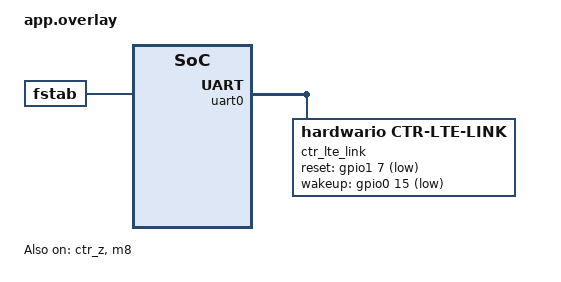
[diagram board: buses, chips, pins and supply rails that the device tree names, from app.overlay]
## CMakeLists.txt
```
#
# Copyright (c) 2024 HARDWARIO a.s.
#
# SPDX-License-Identifier: LicenseRef-HARDWARIO-5-Clause
#

cmake_minimum_required(VERSION 3.20.0)

set(ENV{FW_BUNDLE} "com.hardwario.chester.app.demo")
set(ENV{FW_NAME} "CHESTER Demo")

# Derive firmware version from git (see scripts/version.cmake); the fallback is
# used when git is unavailable at build time.
set(FW_VERSION_FALLBACK "v3.0.0")
include(${CMAKE_CURRENT_SOURCE_DIR}/../../scripts/version.cmake)

find_package(Zephyr REQUIRED HINTS $ENV{ZEPHYR_BASE})

project(chester-demo)

include(${ZEPHYR_CHESTER_MODULE_DIR}/scripts/app_codec.cmake)

target_sources(app PRIVATE src/app_cbor.c)
target_sources(app PRIVATE src/app_config.c)
target_sources(app PRIVATE src/app_data.c)
target_sources(app PRIVATE src/app_handler.c)
target_sources(app PRIVATE src/app_init.c)
target_sources(app PRIVATE src/app_sensor.c)
target_sources(app PRIVATE src/app_shell.c)
target_sources(app PRIVATE src/app_work.c)
target_sources(app PRIVATE src/main.c)

target_precompile_headers(app PRIVATE src/feature.h)

# ### Preserved code "cmake" (begin)
# ^^^ Preserved code "cmake" (end)
```

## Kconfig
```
#
# Copyright (c) 2024 HARDWARIO a.s.
#
# SPDX-License-Identifier: LicenseRef-HARDWARIO-5-Clause
#

menu "Application"

# CHESTER-APP-REPORT-JITTER
config APP_REPORT_JITTER
	bool "Add random time jitter to report transfers"
	default y
	select ENTROPY_GENERATOR
# HARDWARE-CHESTER-Z
config SHIELD_CTR_Z
	bool "Enable SHIELD_CTR_Z"
	default y

config CTR_Z
	default y

config I2C
	default y
# SUBSYSTEM-GNSS#
config SHIELD_CTR_GNSS
	bool "Enable SHIELD_CTR_GNSS"
	default y

config CTR_GNSS
	default y
# SUBSYSTEM-LTE-V2
config SHIELD_CTR_LTE_V2
	bool "Enable SHIELD_CTR_LTE_V2"
	default y

config CTR_LTE_V2
	default y

# ### Preserved code "k_config" (begin)
# ^^^ Preserved code "k_config" (end)

rsource "Kconfig.variant"

endmenu

menu "Zephyr Kernel"
source "Kconfig.zephyr"
endmenu
```

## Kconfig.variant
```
#
# Copyright (c) 2024 HARDWARIO a.s.
#
# SPDX-License-Identifier: LicenseRef-HARDWARIO-5-Clause
#

config VARIANT_DEMO
    bool "Enable VARIANT_DEMO"
    default y
```

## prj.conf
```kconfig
#
# Copyright (c) 2024 HARDWARIO a.s.
#
# SPDX-License-Identifier: LicenseRef-HARDWARIO-5-Clause
#

# Configurations
# SUBSYSTEM-ACCEL
CONFIG_CTR_ACCEL=y
# SUBSYSTEM-BATT
CONFIG_CTR_BATT=y
# SUBSYSTEM-BLUETOOTH
CONFIG_CTR_BLE=y
# SUBSYSTEM-BUF
CONFIG_CTR_BUF=y
# SUBSYSTEM-BUTTON
CONFIG_CTR_BUTTON=y
# SUBSYSTEM-CLOUD
CONFIG_CTR_CLOUD=y
CONFIG_SETTINGS_SHELL=y
CONFIG_IMG_MANAGER=y
CONFIG_BOOTLOADER_MCUBOOT=y
CONFIG_SPI=y
CONFIG_DFU_TARGET=y
CONFIG_DFU_TARGET_STREAM=y
CONFIG_DFU_TARGET_MCUBOOT=y
CONFIG_DFU_TARGET_LOG_LEVEL_DBG=y
CONFIG_STREAM_FLASH_ERASE=y
CONFIG_STREAM_FLASH=y
CONFIG_FILE_SYSTEM=y
CONFIG_FILE_SYSTEM_LITTLEFS=y
CONFIG_FILE_SYSTEM_MKFS=y
CONFIG_FILE_SYSTEM_SHELL=y
CONFIG_SETTINGS_FILE=y
CONFIG_SETTINGS_FILE_PATH="/lfs1/settings/run"
# SUBSYSTEM-CONFIG
CONFIG_CTR_CONFIG=y
# SUBSYSTEM-DEFAULTS
CONFIG_CTR_DEFAULTS=y
# SUBSYSTEM-ENTROPY-GENERATOR
CONFIG_ENTROPY_GENERATOR=y
# SUBSYSTEM-GNSS
CONFIG_CTR_GNSS=y
# SUBSYSTEM-INFO
CONFIG_CTR_INFO=y
# SUBSYSTEM-LED
CONFIG_CTR_LED=y
# SUBSYSTEM-LOG
CONFIG_CTR_LOG=y
# SUBSYSTEM-LTE-V2
CONFIG_CTR_LTE_V2=y
# SUBSYSTEM-POWER
CONFIG_CTR_POWER=y
# SUBSYSTEM-RTC
CONFIG_CTR_RTC=y
# SUBSYSTEM-SHELL
CONFIG_CTR_SHELL=y
# SUBSYSTEM-THERM
CONFIG_CTR_THERM=y
# SUBSYSTEM-WDOG
CONFIG_CTR_WDOG=y
# SUBSYSTEM-ZCBOR
CONFIG_ZCBOR=y
CONFIG_ZCBOR_STOP_ON_ERROR=y
# Extra configurations
CONFIG_ADC_NRFX_SAADC=n
CONFIG_ADC_SHELL=n
CONFIG_CTR_LTE_V2_GNSS=y
CONFIG_GPIO_SHELL=y
CONFIG_I2C_SHELL=y
CONFIG_ISR_TABLES_LOCAL_DECLARATION=y
CONFIG_LTO=y
CONFIG_MCUBOOT_SHELL=y
CONFIG_NEWLIB_LIBC_NANO=n

# ### Preserved code "config" (begin)
CONFIG_BUILD_OUTPUT_META=y
CONFIG_BUILD_OUTPUT_META_STATE_PROPAGATE=y
CONFIG_CTR_CLOUD_SPOOL=y
# ^^^ Preserved code "config" (end)
```

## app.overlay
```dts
/*
 * Copyright (c) 2024 HARDWARIO a.s.
 *
 * SPDX-License-Identifier: LicenseRef-HARDWARIO-5-Clause
 */

/* HARDWARE-CHESTER-Z  */
&ctr_z {
	status = "okay";
};
/* SUBSYSTEM-CLOUD  */
/ {
	fstab {
		compatible = "zephyr,fstab";
		lfs1: lfs1 {
			compatible = "zephyr,fstab,littlefs";
			mount-point = "/lfs1";
			partition = <&littlefs_storage>;
			automount;
			read-size = <16>;
			prog-size = <16>;
			cache-size = <64>;
			lookahead-size = <32>;
			block-cycles = <512>;
		};
	};
};
/* SUBSYSTEM-GNSS  */
&m8 {
	status = "okay";
};
/* SUBSYSTEM-LTE-V2  */
/ {
	chosen {
		ctr,lte_link = &ctr_lte_link;
	};
};

&uart0 {
	status = "okay";

	ctr_lte_link: ctr_lte_link {
		compatible = "hardwario,ctr-lte-link";
		status = "okay";
		reset-gpios = <&gpio1 7 (GPIO_ACTIVE_LOW | GPIO_OPEN_DRAIN)>;
		wakeup-gpios = <&gpio0 15 (GPIO_ACTIVE_LOW | GPIO_OPEN_DRAIN)>;
	};
};

&uart0 {
	status = "okay";
};

/* ### Preserved code "overlay" (begin) */
/* ^^^ Preserved code "overlay" (end) */
```

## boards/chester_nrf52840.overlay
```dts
/*
 * Copyright (c) 2023 HARDWARIO a.s.
 *
 * SPDX-License-Identifier: LicenseRef-HARDWARIO-5-Clause
 */

/ {
	chosen {
		nordic,pm-ext-flash = &spi_flash0;
	};
};

&spi_flash0 {
	partitions {
		compatible = "fixed-partitions";
		#address-cells = <1>;
		#size-cells = <1>;

		littlefs_storage: partition@0 {
			label = "littlefs_storage";

			/*
			 * This size doesn't matter due to Nordic's partition
			 * manager; For the sake of consistency this should
			 * match the configured size
			 */
			reg = <0x00000000 0x730000>;
		};
	};
};

/ {
	fstab {
		compatible = "zephyr,fstab";
		lfs1: lfs1 {
			compatible = "zephyr,fstab,littlefs";
			mount-point = "/lfs1";
			partition = <&littlefs_storage>;
			automount;
			read-size = <16>;
			prog-size = <16>;
			cache-size = <64>;
			lookahead-size = <32>;
			block-cycles = <512>;
		};
	};
};
```

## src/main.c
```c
/*
 * Copyright (c) 2023 HARDWARIO a.s.
 *
 * SPDX-License-Identifier: LicenseRef-HARDWARIO-5-Clause
 */

#include "app_init.h"

/* CHESTER includes */
#include <chester/ctr_led.h>

/* Zephyr includes */
#include <zephyr/kernel.h>
#include <zephyr/logging/log.h>

/* Standard includes */
#include <stdbool.h>

LOG_MODULE_REGISTER(main, LOG_LEVEL_DBG);

int main(void)
{
	int ret;

	LOG_INF("Build time: " __DATE__ " " __TIME__);

	ret = app_init();
	if (ret) {
		LOG_ERR("Call `app_init` failed: %d", ret);
		k_oops();
	}

	for (;;) {
		LOG_INF("Alive");

		ret = ctr_wdog_feed(&g_app_wdog_channel);
		if (ret) {
			LOG_ERR("Call `ctr_wdog_feed` failed: %d", ret);
			k_oops();
		}

		ctr_led_set(CTR_LED_CHANNEL_G, true);
		k_sleep(K_MSEC(30));
		ctr_led_set(CTR_LED_CHANNEL_G, false);

		k_sleep(K_SECONDS(5));
	}

	return 0;
}
```

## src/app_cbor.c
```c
/*
 * Copyright (c) 2024 HARDWARIO a.s.
 *
 * SPDX-License-Identifier: LicenseRef-HARDWARIO-5-Clause
 */

#include "app_cbor.h"
#include "app_codec.h"
#include "app_config.h"
#include "app_data.h"

/* CHESTER includes */
#include <chester/ctr_info.h>
#include <chester/ctr_lte_v2.h>
#include <chester/ctr_rtc.h>
#include <chester/ctr_util.h>

/* Zephyr includes */
#include <zephyr/kernel.h>
#include <zephyr/logging/log.h>

#include <zcbor_common.h>
#include <zcbor_decode.h>
#include <zcbor_encode.h>

/* Standard includes */
#include <errno.h>
#include <math.h>
#include <stdbool.h>
#include <stddef.h>
#include <stdint.h>
#include <stdlib.h>

/* ### Preserved code "functions" (begin) */
#include <chester/ctr_power.h>

/* ^^^ Preserved code "functions" (end) */

LOG_MODULE_REGISTER(app_cbor, LOG_LEVEL_DBG);

static int encode(zcbor_state_t *zs)
{
	int ret;

	zs->constant_state->stop_on_error = true;

	zcbor_map_start_encode(zs, ZCBOR_VALUE_IS_INDEFINITE_LENGTH);

	/* ### Preserved code "message" (begin) */

	zcbor_uint32_put(zs, CODEC_KEY_E_MESSAGE);
	{
		zcbor_map_start_encode(zs, ZCBOR_VALUE_IS_INDEFINITE_LENGTH);

		zcbor_uint32_put(zs, CODEC_KEY_E_MESSAGE__VERSION);
		zcbor_uint32_put(zs, 1);

		static uint32_t sequence = 0;
		zcbor_uint32_put(zs, CODEC_KEY_E_MESSAGE__SEQUENCE);
		zcbor_uint32_put(zs, sequence++);

		uint64_t timestamp;
		ret = ctr_rtc_get_ts(&timestamp);
		if (ret) {
			LOG_ERR("Call `ctr_rtc_get_ts` failed: %d", ret);
			return ret;
		}

		zcbor_uint32_put(zs, CODEC_KEY_E_MESSAGE__TIMESTAMP);
		zcbor_uint64_put(zs, timestamp);

		zcbor_map_end_encode(zs, ZCBOR_VALUE_IS_INDEFINITE_LENGTH);
	}

	/* ^^^ Preserved code "message" (end) */

	/* ### Preserved code "system" (begin) */

	zcbor_uint32_put(zs, CODEC_KEY_E_SYSTEM);
	{
		zcbor_map_start_encode(zs, ZCBOR_VALUE_IS_INDEFINITE_LENGTH);

		zcbor_uint32_put(zs, CODEC_KEY_E_SYSTEM__UPTIME);
		zcbor_uint64_put(zs, k_uptime_get() / 1000);

		zcbor_map_end_encode(zs, ZCBOR_VALUE_IS_INDEFINITE_LENGTH);
	}

	/* ^^^ Preserved code "system" (end) */

	/* ### Preserved code "power" (begin) */

#if defined(FEATURE_SUBSYSTEM_POWER)
	ret = ctr_power_cbor_encode(zs);
	if (ret) {
		LOG_ERR("Call `ctr_power_cbor_encode` failed: %d", ret);
		return ret;
	}
#endif /* defined(FEATURE_SUBSYSTEM_POWER) */

	/* ^^^ Preserved code "power" (end) */

	/* ### Preserved code "attribute" (begin) */

	zcbor_uint32_put(zs, CODEC_KEY_E_ATTRIBUTE);
	{
		zcbor_map_start_encode(zs, ZCBOR_VALUE_IS_INDEFINITE_LENGTH);

		char *vendor_name;
		ctr_info_get_vendor_name(&vendor_name);

		zcbor_uint32_put(zs, CODEC_KEY_E_ATTRIBUTE__VENDOR_NAME);
		zcbor_tstr_put_term(zs, vendor_name, CONFIG_ZCBOR_MAX_STR_LEN);

		char *product_name;
		ctr_info_get_product_name(&product_name);

		zcbor_uint32_put(zs, CODEC_KEY_E_ATTRIBUTE__PRODUCT_NAME);
		zcbor_tstr_put_term(zs, product_name, CONFIG_ZCBOR_MAX_STR_LEN);

		char *hw_variant;
		ctr_info_get_hw_variant(&hw_variant);

		zcbor_uint32_put(zs, CODEC_KEY_E_ATTRIBUTE__HW_VARIANT);
		zcbor_tstr_put_term(zs, hw_variant, CONFIG_ZCBOR_MAX_STR_LEN);

		char *hw_revision;
		ctr_info_get_hw_revision(&hw_revision);

		zcbor_uint32_put(zs, CODEC_KEY_E_ATTRIBUTE__HW_REVISION);
		zcbor_tstr_put_term(zs, hw_revision, CONFIG_ZCBOR_MAX_STR_LEN);

		char *fw_version;
		ctr_info_get_fw_version(&fw_version);

		zcbor_uint32_put(zs, CODEC_KEY_E_ATTRIBUTE__FW_VERSION);
		zcbor_tstr_put_term(zs, fw_version, CONFIG_ZCBOR_MAX_STR_LEN);

		char *serial_number;
		ctr_info_get_serial_number(&serial_number);

		zcbor_uint32_put(zs, CODEC_KEY_E_ATTRIBUTE__SERIAL_NUMBER);
		zcbor_tstr_put_term(zs, serial_number, CONFIG_ZCBOR_MAX_STR_LEN);

		zcbor_map_end_encode(zs, ZCBOR_VALUE_IS_INDEFINITE_LENGTH);
	}

	/* ^^^ Preserved code "attribute" (end) */

	/* ### Preserved code "network" (begin) */

	zcbor_uint32_put(zs, CODEC_KEY_E_NETWORK);
	{
		zcbor_map_start_encode(zs, ZCBOR_VALUE_IS_INDEFINITE_LENGTH);

		zcbor_uint32_put(zs, CODEC_KEY_E_NETWORK__PARAMETER);
		{
			zcbor_map_start_encode(zs, ZCBOR_VALUE_IS_INDEFINITE_LENGTH);

			static struct ctr_lte_v2_conn_param conn_param;
			ret = ctr_lte_v2_get_conn_param(&conn_param);
			if (ret) {
				LOG_ERR("Call `ctr_lte_v2_state_get_conn_param` failed: %d", ret);
				return ret;
			}

			zcbor_uint32_put(zs, CODEC_KEY_E_NETWORK__PARAMETER__EEST);
			if (conn_param.valid) {
				zcbor_int32_put(zs, conn_param.eest);
			} else {
				zcbor_nil_put(zs, NULL);
			}

			zcbor_uint32_put(zs, CODEC_KEY_E_NETWORK__PARAMETER__ECL);
			if (conn_param.valid) {
				zcbor_int32_put(zs, conn_param.ecl);
			} else {
				zcbor_nil_put(zs, NULL);
			}

			zcbor_uint32_put(zs, CODEC_KEY_E_NETWORK__PARAMETER__RSRP);
			if (conn_param.valid) {
				zcbor_int32_put(zs, conn_param.rsrp);
			} else {
				zcbor_nil_put(zs, NULL);
			}

			zcbor_uint32_put(zs, CODEC_KEY_E_NETWORK__PARAMETER__RSRQ);
			if (conn_param.valid) {
				zcbor_int32_put(zs, conn_param.rsrq);
			} else {
				zcbor_nil_put(zs, NULL);
			}

			zcbor_uint32_put(zs, CODEC_KEY_E_NETWORK__PARAMETER__SNR);
			if (conn_param.valid) {
				zcbor_int32_put(zs, conn_param.snr);
			} else {
				zcbor_nil_put(zs, NULL);
			}

			zcbor_uint32_put(zs, CODEC_KEY_E_NETWORK__PARAMETER__PLMN);
			if (conn_param.valid) {
				zcbor_int32_put(zs, conn_param.plmn);
			} else {
				zcbor_nil_put(zs, NULL);
			}

			zcbor_uint32_put(zs, CODEC_KEY_E_NETWORK__PARAMETER__CID);
			if (conn_param.valid) {
				zcbor_int32_put(zs, conn_param.cid);
			} else {
				zcbor_nil_put(zs, NULL);
			}

			zcbor_uint32_put(zs, CODEC_KEY_E_NETWORK__PARAMETER__BAND);
			if (conn_param.valid) {
				zcbor_int32_put(zs, conn_param.band);
			} else {
				zcbor_nil_put(zs, NULL);
			}

			zcbor_uint32_put(zs, CODEC_KEY_E_NETWORK__PARAMETER__EARFCN);
			if (conn_param.valid) {
				zcbor_int32_put(zs, conn_param.earfcn);
			} else {
				zcbor_nil_put(zs, NULL);
			}

			zcbor_map_end_encode(zs, ZCBOR_VALUE_IS_INDEFINITE_LENGTH);
		}

		zcbor_map_end_encode(zs, ZCBOR_VALUE_IS_INDEFINITE_LENGTH);
	}

	/* ^^^ Preserved code "network" (end) */

	/* ### Preserved code "thermometer" (begin) */

	zcbor_uint32_put(zs, CODEC_KEY_E_THERMOMETER);
	{
		zcbor_map_start_encode(zs, ZCBOR_VALUE_IS_INDEFINITE_LENGTH);

		zcbor_uint32_put(zs, CODEC_KEY_E_THERMOMETER__TEMPERATURE);
		if (isnan(g_app_data.therm_temperature)) {
			zcbor_nil_put(zs, NULL);
		} else {
			zcbor_int32_put(zs, g_app_data.therm_temperature * 100.f);
		}

		zcbor_map_end_encode(zs, ZCBOR_VALUE_IS_INDEFINITE_LENGTH);
	}

	/* ^^^ Preserved code "thermometer" (end) */

	/* ### Preserved code "accelerometer" (begin) */

	zcbor_uint32_put(zs, CODEC_KEY_E_ACCELEROMETER);
	{
		zcbor_map_start_encode(zs, ZCBOR_VALUE_IS_INDEFINITE_LENGTH);

		zcbor_uint32_put(zs, CODEC_KEY_E_ACCELEROMETER__ACCELERATION_X);
		if (isnan(g_app_data.accel_acceleration_x)) {
			zcbor_nil_put(zs, NULL);
		} else {
			zcbor_int32_put(zs, g_app_data.accel_acceleration_x * 1000.f);
		}

		zcbor_uint32_put(zs, CODEC_KEY_E_ACCELEROMETER__ACCELERATION_Y);
		if (isnan(g_app_data.accel_acceleration_y)) {
			zcbor_nil_put(zs, NULL);
		} else {
			zcbor_int32_put(zs, g_app_data.accel_acceleration_y * 1000.f);
		}

		zcbor_uint32_put(zs, CODEC_KEY_E_ACCELEROMETER__ACCELERATION_Z);
		if (isnan(g_app_data.accel_acceleration_z)) {
			zcbor_nil_put(zs, NULL);
		} else {
			zcbor_int32_put(zs, g_app_data.accel_acceleration_z * 1000.f);
		}

		zcbor_uint32_put(zs, CODEC_KEY_E_ACCELEROMETER__ORIENTATION);
		if (g_app_data.accel_orientation == INT_MAX) {
			zcbor_nil_put(zs, NULL);
		} else {
			zcbor_uint32_put(zs, g_app_data.accel_orientation);
		}

		zcbor_map_end_encode(zs, ZCBOR_VALUE_IS_INDEFINITE_LENGTH);
	}

	/* ^^^ Preserved code "accelerometer" (end) */

	zcbor_map_end_encode(zs, ZCBOR_VALUE_IS_INDEFINITE_LENGTH);

	if (!zcbor_check_error(zs)) {
		LOG_ERR("Encoding failed: %d", zcbor_pop_error(zs));
		return -EFAULT;
	}

	return 0;
}

int decode(zcbor_state_t *zs, struct app_cbor_received *received)
{
	memset(received, 0, sizeof(struct app_cbor_received));

	if (!zcbor_map_start_decode(zs)) {
		return -EBADMSG;
	}

	uint32_t key;
	bool ok;

	/* ### Preserved code "while" (begin) */
	while (1) {
		if (!zcbor_uint32_decode(zs, &key)) {
			break;
		}

		switch (key) {

		/* Filled in by Project Generator */
		case CODEC_KEY_D_LED_R:
			ok = zcbor_int32_decode(zs, &received->led_r);
			received->has_led_r = true;
			break;
		case CODEC_KEY_D_LED_G:
			ok = zcbor_int32_decode(zs, &received->led_g);
			received->has_led_g = true;
			break;
		case CODEC_KEY_D_LED_Y:
			ok = zcbor_int32_decode(zs, &received->led_y);
			received->has_led_y = true;
			break;
		case CODEC_KEY_D_LED_LOAD:
			ok = zcbor_int32_decode(zs, &received->led_load);
			received->has_led_load = true;
			break;
		}
		if (!ok) {
			LOG_ERR("Encoding failed: %d", zcbor_peek_error(zs));
			return -EBADMSG;
		}
	}
	/* ^^^ Preserved code "while" (end) */

	if (!zcbor_map_end_decode(zs)) {
		return -EBADMSG;
	}

	return 0;
}

int app_cbor_encode(zcbor_state_t *zs)
{
	int ret;

	app_data_lock();

	ret = encode(zs);
	if (ret) {
		LOG_ERR("Call `encode` failed: %d", ret);
		app_data_unlock();
		return ret;
	}

	app_data_unlock();

	return 0;
}

int app_cbor_decode(zcbor_state_t *zs, struct app_cbor_received *received)
{
	int ret;
	ret = decode(zs, received);
	if (ret) {
		LOG_ERR("Call `decode` failed: %d", ret);
		return ret;
	}

	return 0;
}
```

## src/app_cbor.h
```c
/*
 * Copyright (c) 2024 HARDWARIO a.s.
 *
 * SPDX-License-Identifier: LicenseRef-HARDWARIO-5-Clause
 */

#ifndef APP_CBOR_H_
#define APP_CBOR_H_

/* Zephyr includes */
#include <zephyr/kernel.h>

#include <zcbor_common.h>

#ifdef __cplusplus
extern "C" {
#endif

struct app_cbor_received {
	bool has_led_r;
	int32_t led_r;
	bool has_led_g;
	int32_t led_g;
	bool has_led_y;
	int32_t led_y;
	bool has_led_load;
	int32_t led_load;
};

int app_cbor_encode(zcbor_state_t *zs);
int app_cbor_decode(zcbor_state_t *zs, struct app_cbor_received *received);

#ifdef __cplusplus
}
#endif

#endif /* APP_CBOR_H_ */
```

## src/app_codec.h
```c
#ifndef CODEC_H_
#define CODEC_H_

/* This file has been generated using the script gen-codec.py */

#ifdef __cplusplus
extern "C" {
#endif

#define CODEC_CLOUD_DECODER_HASH ((uint64_t)0x6940c0933067d636)
#define CODEC_CLOUD_ENCODER_HASH ((uint64_t)0xe074aea1e4183ce4)

enum codec_key_e {
	CODEC_KEY_E_MESSAGE = 0,
	CODEC_KEY_E_MESSAGE__VERSION = 1,
	CODEC_KEY_E_MESSAGE__SEQUENCE = 2,
	CODEC_KEY_E_MESSAGE__TIMESTAMP = 3,
	CODEC_KEY_E_SYSTEM = 4,
	CODEC_KEY_E_SYSTEM__UPTIME = 5,
	CODEC_KEY_E_SYSTEM__VOLTAGE_REST = 6,
	CODEC_KEY_E_SYSTEM__VOLTAGE_LOAD = 7,
	CODEC_KEY_E_SYSTEM__CURRENT_LOAD = 8,
	CODEC_KEY_E_ATTRIBUTE = 9,
	CODEC_KEY_E_ATTRIBUTE__VENDOR_NAME = 10,
	CODEC_KEY_E_ATTRIBUTE__PRODUCT_NAME = 11,
	CODEC_KEY_E_ATTRIBUTE__HW_VARIANT = 12,
	CODEC_KEY_E_ATTRIBUTE__HW_REVISION = 13,
	CODEC_KEY_E_ATTRIBUTE__FW_VERSION = 14,
	CODEC_KEY_E_ATTRIBUTE__SERIAL_NUMBER = 15,
	CODEC_KEY_E_NETWORK = 16,
	CODEC_KEY_E_NETWORK__PARAMETER = 17,
	CODEC_KEY_E_NETWORK__PARAMETER__EEST = 18,
	CODEC_KEY_E_NETWORK__PARAMETER__ECL = 19,
	CODEC_KEY_E_NETWORK__PARAMETER__RSRP = 20,
	CODEC_KEY_E_NETWORK__PARAMETER__RSRQ = 21,
	CODEC_KEY_E_NETWORK__PARAMETER__SNR = 22,
	CODEC_KEY_E_NETWORK__PARAMETER__PLMN = 23,
	CODEC_KEY_E_NETWORK__PARAMETER__CID = 24,
	CODEC_KEY_E_NETWORK__PARAMETER__BAND = 25,
	CODEC_KEY_E_NETWORK__PARAMETER__EARFCN = 26,
	CODEC_KEY_E_THERMOMETER = 27,
	CODEC_KEY_E_THERMOMETER__TEMPERATURE = 28,
	CODEC_KEY_E_ACCELEROMETER = 29,
	CODEC_KEY_E_ACCELEROMETER__ACCELERATION_X = 30,
	CODEC_KEY_E_ACCELEROMETER__ACCELERATION_Y = 31,
	CODEC_KEY_E_ACCELEROMETER__ACCELERATION_Z = 32,
	CODEC_KEY_E_ACCELEROMETER__ORIENTATION = 33,
};

enum codec_key_d {
	CODEC_KEY_D_LED_R = 0,
	CODEC_KEY_D_LED_G = 1,
	CODEC_KEY_D_LED_Y = 2,
	CODEC_KEY_D_LED_LOAD = 3,
};

#define CODEC_CLOUD_OPTIONS_STATIC(_name) \
	static const uint8_t _name##_cloud_decoder[] = CLOUD_DECODER_BUFFER; \
	static const uint8_t _name##_cloud_encoder[] = CLOUD_ENCODER_BUFFER; \
	static struct ctr_cloud_options _name = { \
		.decoder_hash = CODEC_CLOUD_DECODER_HASH, \
		.encoder_hash = CODEC_CLOUD_ENCODER_HASH, \
		.decoder_buf = _name##_cloud_decoder, \
		.decoder_len = 559, \
		.encoder_buf = _name##_cloud_encoder, \
		.encoder_len = 147, \
}

#define CLOUD_DECODER_BUFFER { \
	0xa4, 0x67, 0x76, 0x65, 0x72, 0x73, 0x69, 0x6f, \
	0x6e, 0x02, 0x64, 0x74, 0x79, 0x70, 0x65, 0x67, \
	0x64, 0x65, 0x63, 0x6f, 0x64, 0x65, 0x72, 0x64, \
	0x6e, 0x61, 0x6d, 0x65, 0x78, 0x1e, 0x63, 0x6f, \
	0x6d, 0x2e, 0x68, 0x61, 0x72, 0x64, 0x77, 0x61, \
	0x72, 0x69, 0x6f, 0x2e, 0x63, 0x68, 0x65, 0x73, \
	0x74, 0x65, 0x72, 0x2e, 0x61, 0x70, 0x70, 0x2e, \
	0x64, 0x65, 0x6d, 0x6f, 0x66, 0x73, 0x63, 0x68, \
	0x65, 0x6d, 0x61, 0x86, 0xa1, 0x67, 0x6d, 0x65, \
	0x73, 0x73, 0x61, 0x67, 0x65, 0x83, 0xa1, 0x67, \
	0x76, 0x65, 0x72, 0x73, 0x69, 0x6f, 0x6e, 0xf6, \
	0xa1, 0x68, 0x73, 0x65, 0x71, 0x75, 0x65, 0x6e, \
	0x63, 0x65, 0xf6, 0xa1, 0x69, 0x74, 0x69, 0x6d, \
	0x65, 0x73, 0x74, 0x61, 0x6d, 0x70, 0xf6, 0xa1, \
	0x66, 0x73, 0x79, 0x73, 0x74, 0x65, 0x6d, 0x84, \
	0xa1, 0x66, 0x75, 0x70, 0x74, 0x69, 0x6d, 0x65, \
	0xf6, 0xa1, 0x6c, 0x76, 0x6f, 0x6c, 0x74, 0x61, \
	0x67, 0x65, 0x5f, 0x72, 0x65, 0x73, 0x74, 0x82, \
	0xa1, 0x64, 0x24, 0x64, 0x69, 0x76, 0x19, 0x03, \
	0xe8, 0xa1, 0x64, 0x24, 0x66, 0x70, 0x70, 0x02, \
	0xa1, 0x6c, 0x76, 0x6f, 0x6c, 0x74, 0x61, 0x67, \
	0x65, 0x5f, 0x6c, 0x6f, 0x61, 0x64, 0x82, 0xa1, \
	0x64, 0x24, 0x64, 0x69, 0x76, 0x19, 0x03, 0xe8, \
	0xa1, 0x64, 0x24, 0x66, 0x70, 0x70, 0x02, 0xa1, \
	0x6c, 0x63, 0x75, 0x72, 0x72, 0x65, 0x6e, 0x74, \
	0x5f, 0x6c, 0x6f, 0x61, 0x64, 0xf6, 0xa1, 0x69, \
	0x61, 0x74, 0x74, 0x72, 0x69, 0x62, 0x75, 0x74, \
	0x65, 0x86, 0xa1, 0x6b, 0x76, 0x65, 0x6e, 0x64, \
	0x6f, 0x72, 0x5f, 0x6e, 0x61, 0x6d, 0x65, 0xf6, \
	0xa1, 0x6c, 0x70, 0x72, 0x6f, 0x64, 0x75, 0x63, \
	0x74, 0x5f, 0x6e, 0x61, 0x6d, 0x65, 0xf6, 0xa1, \
	0x6a, 0x68, 0x77, 0x5f, 0x76, 0x61, 0x72, 0x69, \
	0x61, 0x6e, 0x74, 0xf6, 0xa1, 0x6b, 0x68, 0x77, \
	0x5f, 0x72, 0x65, 0x76, 0x69, 0x73, 0x69, 0x6f, \
	0x6e, 0xf6, 0xa1, 0x6a, 0x66, 0x77, 0x5f, 0x76, \
	0x65, 0x72, 0x73, 0x69, 0x6f, 0x6e, 0xf6, 0xa1, \
	0x6d, 0x73, 0x65, 0x72, 0x69, 0x61, 0x6c, 0x5f, \
	0x6e, 0x75, 0x6d, 0x62, 0x65, 0x72, 0xf6, 0xa1, \
	0x67, 0x6e, 0x65, 0x74, 0x77, 0x6f, 0x72, 0x6b, \
	0x81, 0xa1, 0x69, 0x70, 0x61, 0x72, 0x61, 0x6d, \
	0x65, 0x74, 0x65, 0x72, 0x89, 0xa1, 0x64, 0x65, \
	0x65, 0x73, 0x74, 0xf6, 0xa1, 0x63, 0x65, 0x63, \
	0x6c, 0xf6, 0xa1, 0x64, 0x72, 0x73, 0x72, 0x70, \
	0xf6, 0xa1, 0x64, 0x72, 0x73, 0x72, 0x71, 0xf6, \
	0xa1, 0x63, 0x73, 0x6e, 0x72, 0xf6, 0xa1, 0x64, \
	0x70, 0x6c, 0x6d, 0x6e, 0xf6, 0xa1, 0x63, 0x63, \
	0x69, 0x64, 0xf6, 0xa1, 0x64, 0x62, 0x61, 0x6e, \
	0x64, 0xf6, 0xa1, 0x66, 0x65, 0x61, 0x72, 0x66, \
	0x63, 0x6e, 0xf6, 0xa1, 0x6b, 0x74, 0x68, 0x65, \
	0x72, 0x6d, 0x6f, 0x6d, 0x65, 0x74, 0x65, 0x72, \
	0x81, 0xa1, 0x6b, 0x74, 0x65, 0x6d, 0x70, 0x65, \
	0x72, 0x61, 0x74, 0x75, 0x72, 0x65, 0x82, 0xa1, \
	0x64, 0x24, 0x64, 0x69, 0x76, 0x18, 0x64, 0xa1, \
	0x64, 0x24, 0x66, 0x70, 0x70, 0x02, 0xa1, 0x6d, \
	0x61, 0x63, 0x63, 0x65, 0x6c, 0x65, 0x72, 0x6f, \
	0x6d, 0x65, 0x74, 0x65, 0x72, 0x84, 0xa1, 0x6e, \
	0x61, 0x63, 0x63, 0x65, 0x6c, 0x65, 0x72, 0x61, \
	0x74, 0x69, 0x6f, 0x6e, 0x5f, 0x78, 0x82, 0xa1, \
	0x64, 0x24, 0x64, 0x69, 0x76, 0x19, 0x03, 0xe8, \
	0xa1, 0x64, 0x24, 0x66, 0x70, 0x70, 0x02, 0xa1, \
	0x6e, 0x61, 0x63, 0x63, 0x65, 0x6c, 0x65, 0x72, \
	0x61, 0x74, 0x69, 0x6f, 0x6e, 0x5f, 0x79, 0x82, \
	0xa1, 0x64, 0x24, 0x64, 0x69, 0x76, 0x19, 0x03, \
	0xe8, 0xa1, 0x64, 0x24, 0x66, 0x70, 0x70, 0x02, \
	0xa1, 0x6e, 0x61, 0x63, 0x63, 0x65, 0x6c, 0x65, \
	0x72, 0x61, 0x74, 0x69, 0x6f, 0x6e, 0x5f, 0x7a, \
	0x82, 0xa1, 0x64, 0x24, 0x64, 0x69, 0x76, 0x19, \
	0x03, 0xe8, 0xa1, 0x64, 0x24, 0x66, 0x70, 0x70, \
	0x02, 0xa1, 0x6b, 0x6f, 0x72, 0x69, 0x65, 0x6e, \
	0x74, 0x61, 0x74, 0x69, 0x6f, 0x6e, 0xf6, \
}

#define CLOUD_ENCODER_BUFFER { \
	0xa4, 0x67, 0x76, 0x65, 0x72, 0x73, 0x69, 0x6f, \
	0x6e, 0x02, 0x64, 0x74, 0x79, 0x70, 0x65, 0x67, \
	0x65, 0x6e, 0x63, 0x6f, 0x64, 0x65, 0x72, 0x64, \
	0x6e, 0x61, 0x6d, 0x65, 0x78, 0x1e, 0x63, 0x6f, \
	0x6d, 0x2e, 0x68, 0x61, 0x72, 0x64, 0x77, 0x61, \
	0x72, 0x69, 0x6f, 0x2e, 0x63, 0x68, 0x65, 0x73, \
	0x74, 0x65, 0x72, 0x2e, 0x61, 0x70, 0x70, 0x2e, \
	0x64, 0x65, 0x6d, 0x6f, 0x66, 0x73, 0x63, 0x68, \
	0x65, 0x6d, 0x61, 0x84, 0xa1, 0x65, 0x6c, 0x65, \
	0x64, 0x5f, 0x72, 0x81, 0xa1, 0x65, 0x24, 0x74, \
	0x79, 0x70, 0x65, 0x63, 0x69, 0x6e, 0x74, 0xa1, \
	0x65, 0x6c, 0x65, 0x64, 0x5f, 0x67, 0x81, 0xa1, \
	0x65, 0x24, 0x74, 0x79, 0x70, 0x65, 0x63, 0x69, \
	0x6e, 0x74, 0xa1, 0x65, 0x6c, 0x65, 0x64, 0x5f, \
	0x79, 0x81, 0xa1, 0x65, 0x24, 0x74, 0x79, 0x70, \
	0x65, 0x63, 0x69, 0x6e, 0x74, 0xa1, 0x68, 0x6c, \
	0x65, 0x64, 0x5f, 0x6c, 0x6f, 0x61, 0x64, 0x81, \
	0xa1, 0x65, 0x24, 0x74, 0x79, 0x70, 0x65, 0x63, \
	0x69, 0x6e, 0x74, \
}

#ifdef __cplusplus
}
#endif

#endif /* CODEC_H_ */
```

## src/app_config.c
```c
/*
 * Copyright (c) 2024 HARDWARIO a.s.
 *
 * SPDX-License-Identifier: LicenseRef-HARDWARIO-5-Clause
 */

#include "app_config.h"

/* CHESTER includes */
#include <chester/ctr_config.h>

/* Zephyr includes */
#include <zephyr/init.h>
#include <zephyr/kernel.h>
#include <zephyr/logging/log.h>
#include <zephyr/settings/settings.h>
#include <zephyr/shell/shell.h>

/* Standard includes */
#include <stdbool.h>
#include <stdio.h>
#include <stdlib.h>
#include <string.h>

/* ### Preserved code "includes" (begin) */
/* ^^^ Preserved code "includes" (end) */

LOG_MODULE_REGISTER(app_config, LOG_LEVEL_DBG);

#define SETTINGS_PFX "app-demo"

struct app_config g_app_config;

static struct app_config m_config_interim;

/* clang-format off */
const struct ctr_config_item items[] = {
	CTR_CONFIG_ITEM_INT("interval-sample", m_config_interim.interval_sample, 1, 86400, "Get/Set sample interval in seconds.", 60),
	CTR_CONFIG_ITEM_INT("interval-aggreg", m_config_interim.interval_aggreg, 1, 86400, "Get/Set aggregate interval in seconds .", 300),
	CTR_CONFIG_ITEM_INT("interval-report", m_config_interim.interval_report, 30, 86400, "Get/Set report interval in seconds.", 1800),
	CTR_CONFIG_ITEM_INT("interval-poll", m_config_interim.interval_poll, 0, 86400, "Get/Set poll interval in seconds (disabled if 0).", 60),

	CTR_CONFIG_ITEM_ENUM("mode", m_config_interim.mode, ((const char*[]){"none", "lte"}), "Set communication mode", APP_CONFIG_MODE_LTE),

	/* ### Preserved code "config" (begin) */
	/* ^^^ Preserved code "config" (end) */

};
/* clang-format on */

/* ### Preserved code "function" (begin) */
/* ^^^ Preserved code "function" (end) */

int app_config_cmd_config_show(const struct shell *shell, size_t argc, char **argv)
{
	/* ### Preserved code "app_config_cmd_config_show start" (begin) */
	/* ^^^ Preserved code "app_config_cmd_config_show start" (end) */

	for (int i = 0; i < ARRAY_SIZE(items); i++) {
		ctr_config_show_item(shell, &items[i]);
	}

	/* ### Preserved code "app_config_cmd_config_show end" (begin) */
	/* ^^^ Preserved code "app_config_cmd_config_show end" (end) */

	return 0;
}

int app_config_cmd_config(const struct shell *shell, size_t argc, char **argv)
{
	/* ### Preserved code "app_config_cmd_config" (begin) */
	/* ^^^ Preserved code "app_config_cmd_config" (end) */
	return ctr_config_cmd_config(items, ARRAY_SIZE(items), shell, argc, argv);
}

static int h_set(const char *key, size_t len, settings_read_cb read_cb, void *cb_arg)
{
	/* ### Preserved code "h_set" (begin) */
	/* ^^^ Preserved code "h_set" (end) */

	return ctr_config_h_set(items, ARRAY_SIZE(items), key, len, read_cb, cb_arg);
}

static int h_commit(void)
{
	LOG_DBG("Loaded settings in full");

	/* ### Preserved code "h_commit" (begin) */
	/* ^^^ Preserved code "h_commit" (end) */

	memcpy(&g_app_config, &m_config_interim, sizeof(g_app_config));
	return 0;
}

static int h_export(int (*export_func)(const char *name, const void *val, size_t val_len))
{
	/* ### Preserved code "h_export" (begin) */
	/* ^^^ Preserved code "h_export" (end) */

	return ctr_config_h_export(items, ARRAY_SIZE(items), export_func);
}

static int init(void)
{
	int ret;

	LOG_INF("System initialization");

	for (int i = 0; i < ARRAY_SIZE(items); i++) {
		ctr_config_init_item(&items[i]);
	}

	static struct settings_handler sh = {
		.name = SETTINGS_PFX,
		.h_set = h_set,
		.h_commit = h_commit,
		.h_export = h_export,
	};

	ret = settings_register(&sh);
	if (ret) {
		LOG_ERR("Call `settings_register` failed: %d", ret);
		return ret;
	}

	ret = settings_load_subtree(SETTINGS_PFX);
	if (ret) {
		LOG_ERR("Call `settings_load_subtree` failed: %d", ret);
		return ret;
	}

	/* ### Preserved code "init" (begin) */
	/* ^^^ Preserved code "init" (end) */

	ctr_config_append_show(SETTINGS_PFX, app_config_cmd_config_show);

	return 0;
}

SYS_INIT(init, APPLICATION, CONFIG_APPLICATION_INIT_PRIORITY);
```

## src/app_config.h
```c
/*
 * Copyright (c) 2024 HARDWARIO a.s.
 *
 * SPDX-License-Identifier: LicenseRef-HARDWARIO-5-Clause
 */

#ifndef APP_CONFIG_H_
#define APP_CONFIG_H_

/* Zephyr includes */
#include <zephyr/shell/shell.h>

/* Standard includes */
#include <stdbool.h>
#include <stddef.h>

/* ### Preserved code "includes" (begin) */
/* ^^^ Preserved code "includes" (end) */

#ifdef __cplusplus
extern "C" {
#endif

enum app_config_mode {
	APP_CONFIG_MODE_NONE = 0,
	APP_CONFIG_MODE_LTE = 1,
};

struct app_config {
	int interval_sample;
	int interval_aggreg;
	int interval_report;
	int interval_poll;

	enum app_config_mode mode;

	/* ### Preserved code "struct variables" (begin) */
	/* ^^^ Preserved code "struct variables" (end) */
};

extern struct app_config g_app_config;

int app_config_cmd_config_show(const struct shell *shell, size_t argc, char **argv);
int app_config_cmd_config_mode(const struct shell *shell, size_t argc, char **argv);

int app_config_cmd_config(const struct shell *shell, size_t argc, char **argv);

/* ### Preserved code "functions" (begin) */
/* ^^^ Preserved code "functions" (end) */

#ifdef __cplusplus
}
#endif

#endif /* APP_CONFIG_H_ */
```

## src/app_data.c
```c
/*
 * Copyright (c) 2023 HARDWARIO a.s.
 *
 * SPDX-License-Identifier: LicenseRef-HARDWARIO-5-Clause
 */

#include "app_data.h"

/* CHESTER includes */
#include <chester/ctr_lte.h>

/* Zephyr includes */
#include <zephyr/kernel.h>

/* Standard includes */
#include <limits.h>
#include <math.h>
#include <stdbool.h>

/*
 * Keep `g_app_data` zero-initialized so it is placed in `.bss` (RAM only).
 * Non-zero initializers (NAN, INT_MAX) would move the whole structure to
 * `.data`, which occupies the same amount of FLASH and is copied on boot.
 * Non-zero defaults are set at runtime in `app_data_init()` instead.
 */
struct app_data g_app_data;

static K_MUTEX_DEFINE(m_lock);

int app_data_init(void)
{
	app_data_lock();

	g_app_data.accel_acceleration_x = NAN;
	g_app_data.accel_acceleration_y = NAN;
	g_app_data.accel_acceleration_z = NAN;
	g_app_data.accel_orientation = INT_MAX;
	g_app_data.therm_temperature = NAN;

	app_data_unlock();

	return 0;
}

void app_data_lock(void)
{
	k_mutex_lock(&m_lock, K_FOREVER);
}

void app_data_unlock(void)
{
	k_mutex_unlock(&m_lock);
}
```

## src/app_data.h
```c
/*
 * Copyright (c) 2023 HARDWARIO a.s.
 *
 * SPDX-License-Identifier: LicenseRef-HARDWARIO-5-Clause
 */

#ifndef APP_DATA_H_
#define APP_DATA_H_

/* Standard includes */
#include <stdbool.h>
#include <stdint.h>

#ifdef __cplusplus
extern "C" {
#endif

struct app_data {
	uint32_t sequence;
	float therm_temperature;
	float accel_acceleration_x;
	float accel_acceleration_y;
	float accel_acceleration_z;
	int accel_orientation;
};

extern struct app_data g_app_data;

int app_data_init(void);
void app_data_lock(void);
void app_data_unlock(void);

#ifdef __cplusplus
}
#endif

#endif /* APP_DATA_H_ */
```

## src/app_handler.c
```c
/*
 * Copyright (c) 2023 HARDWARIO a.s.
 *
 * SPDX-License-Identifier: LicenseRef-HARDWARIO-5-Clause
 */

#include "app_handler.h"
#include "app_config.h"
#include "app_data.h"
#include "app_init.h"
#include "app_work.h"
#include "app_cbor.h"

/* CHESTER includes */
#include <chester/ctr_button.h>
#include <chester/ctr_led.h>
#include <chester/ctr_lrw.h>
#include <chester/ctr_lte.h>
#include <chester/ctr_rtc.h>
#include <chester/drivers/ctr_z.h>

/* Zephyr includes */
#include <zephyr/kernel.h>
#include <zephyr/logging/log.h>
#include <zephyr/sys/reboot.h>

#include <zcbor_common.h>
#include <zcbor_decode.h>
#include <zcbor_encode.h>

/* Standard includes */
#include <math.h>
#include <stdbool.h>
#include <stddef.h>

LOG_MODULE_REGISTER(app_handler, LOG_LEVEL_DBG);

static void app_load_timer_handler(struct k_timer *timer)
{
	ctr_led_set(CTR_LED_CHANNEL_LOAD, 0);
}

K_TIMER_DEFINE(app_load_timer, app_load_timer_handler, NULL);

void app_handler_ctr_button(enum ctr_button_channel chan, enum ctr_button_event ev, int val,
			    void *user_data)
{
	int ret;

	if (chan != CTR_BUTTON_CHANNEL_INT) {
		return;
	}

	if (ev == CTR_BUTTON_EVENT_CLICK) {
		for (int i = 0; i < val; i++) {
			ret = ctr_led_set(CTR_LED_CHANNEL_Y, true);
			if (ret) {
				LOG_ERR("Call `ctr_led_set` failed: %d", ret);
				return;
			}

			k_sleep(K_MSEC(50));
			ret = ctr_led_set(CTR_LED_CHANNEL_Y, false);
			if (ret) {
				LOG_ERR("Call `ctr_led_set` failed: %d", ret);
				return;
			}

			k_sleep(K_MSEC(200));
		}

		switch (val) {
		case 1:
			app_work_send();
			break;
		case 2:
			app_work_sample();
			break;
		case 3:
			app_work_sample();
			app_work_aggreg();
			app_work_send();
			break;
		case 4:
			sys_reboot(SYS_REBOOT_COLD);
			break;
		case 5:
			ret = ctr_led_set(CTR_LED_CHANNEL_LOAD, 1);
			if (ret) {
				LOG_ERR("Call `ctr_led_set` failed: %d", ret);
				return;
			}
			k_timer_start(&app_load_timer, K_MINUTES(2), K_FOREVER);
			break;
		}
	}
}

void app_handler_cloud_event(enum ctr_cloud_event event, union ctr_cloud_event_data *data,
			     void *param)
{
	int ret;

	if (event == CTR_CLOUD_EVENT_RECV) {
		LOG_HEXDUMP_INF(data->recv.buf, data->recv.len, "Received:");

		if (data->recv.len < 8) {
			LOG_ERR("Missing encoder hash");
			return;
		}

		uint8_t *buf = (uint8_t *)data->recv.buf + 8;
		size_t len = data->recv.len - 8;

		ZCBOR_STATE_D(zs, 1, buf, len, 1, 0);

		struct app_cbor_received received;

		ret = app_cbor_decode(zs, &received);
		if (ret) {
			LOG_ERR("Call `app_cbor_decode` failed: %d", ret);
			return;
		}

		if (received.has_led_r) {
			LOG_INF("Set LED R to %d", received.led_r);
			ret = ctr_led_set(CTR_LED_CHANNEL_R, received.led_r);
			if (ret) {
				LOG_ERR("Call `ctr_led_set` failed: %d", ret);
				return;
			}
		}

		if (received.has_led_g) {
			LOG_INF("Set LED G to %d", received.led_g);
			ret = ctr_led_set(CTR_LED_CHANNEL_G, received.led_g);
			if (ret) {
				LOG_ERR("Call `ctr_led_set` failed: %d", ret);
				return;
			}
		}

		if (received.has_led_y) {
			LOG_INF("Set LED Y to %d", received.led_y);
			ret = ctr_led_set(CTR_LED_CHANNEL_Y, received.led_y);
			if (ret) {
				LOG_ERR("Call `ctr_led_set` failed: %d", ret);
				return;
			}
		}

		if (received.has_led_load) {
			LOG_INF("Set LED LOAD to %d", received.led_load);
			ret = ctr_led_set(CTR_LED_CHANNEL_LOAD, received.led_load);
			if (ret) {
				LOG_ERR("Call `ctr_led_set` failed: %d", ret);
				return;
			}
		}
	}
}
```

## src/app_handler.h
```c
/*
 * Copyright (c) 2023 HARDWARIO a.s.
 *
 * SPDX-License-Identifier: LicenseRef-HARDWARIO-5-Clause
 */

#ifndef APP_HANDLER_H_
#define APP_HANDLER_H_

/* CHESTER includes */
#include <chester/ctr_button.h>
#include <chester/ctr_cloud.h>

#ifdef __cplusplus
extern "C" {
#endif

void app_handler_ctr_button(enum ctr_button_channel chan, enum ctr_button_event ev, int val,
			    void *user_data);
void app_handler_cloud_event(enum ctr_cloud_event event, union ctr_cloud_event_data *data,
			     void *param);

#ifdef __cplusplus
}
#endif

#endif /* APP_HANDLER_H_ */
```

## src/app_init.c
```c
/*
 * Copyright (c) 2023 HARDWARIO a.s.
 *
 * SPDX-License-Identifier: LicenseRef-HARDWARIO-5-Clause
 */

#include "app_config.h"
#include "app_data.h"
#include "app_handler.h"
#include "app_init.h"
#include "app_work.h"
#include "app_codec.h"

/* CHESTER includes */
#include <chester/ctr_button.h>
#include <chester/ctr_ds18b20.h>
#include <chester/ctr_led.h>
#include <chester/ctr_lrw.h>
#include <chester/ctr_lte.h>
#include <chester/ctr_power.h>
#include <chester/ctr_soil_sensor.h>
#include <chester/ctr_wdog.h>
#include <chester/drivers/ctr_s1.h>
#include <chester/drivers/ctr_z.h>

/* Zephyr includes */
#include <zephyr/device.h>
#include <zephyr/devicetree.h>
#include <zephyr/drivers/gpio.h>
#include <zephyr/kernel.h>
#include <zephyr/logging/log.h>
#include <zephyr/sys/byteorder.h>

/* Standard includes */
#include <math.h>
#include <stdbool.h>
#include <stddef.h>
#include <stdint.h>

LOG_MODULE_REGISTER(app_init, LOG_LEVEL_DBG);

struct ctr_wdog_channel g_app_wdog_channel;

int app_init(void)
{
	int ret;

	ret = app_data_init();
	if (ret) {
		LOG_ERR("Call `app_data_init` failed: %d", ret);
		return ret;
	}

	ctr_led_set(CTR_LED_CHANNEL_R, true);

	ret = ctr_wdog_set_timeout(120000);
	if (ret) {
		LOG_ERR("Call `ctr_wdog_set_timeout` failed: %d", ret);
		return ret;
	}

	ret = ctr_wdog_install(&g_app_wdog_channel);
	if (ret) {
		LOG_ERR("Call `ctr_wdog_install` failed: %d", ret);
		return ret;
	}

	ret = ctr_wdog_start();
	if (ret) {
		LOG_ERR("Call `ctr_wdog_start` failed: %d", ret);
		return ret;
	}

	ret = ctr_button_set_event_cb(app_handler_ctr_button, NULL);
	if (ret) {
		LOG_ERR("Call `ctr_button_set_event_cb` failed: %d", ret);
		return ret;
	}

#if defined(FEATURE_SUBSYSTEM_LTE_V2)

	CODEC_CLOUD_OPTIONS_STATIC(copt);

	ret = ctr_cloud_init(&copt);
	if (ret) {
		LOG_ERR("Call `ctr_cloud_init` failed: %d", ret);
		return ret;
	}

	ret = ctr_cloud_set_callback(app_handler_cloud_event, NULL);
	if (ret) {
		LOG_ERR("Call `ctr_cloud_set_callback` failed: %d", ret);
	}

	if (g_app_config.interval_poll) {
		ret = ctr_cloud_set_poll_interval(K_SECONDS(g_app_config.interval_poll));
		if (ret) {
			LOG_ERR("Call `ctr_cloud_set_poll_interval` failed: %d", ret);
			return ret;
		}
	}

	while (true) {
		ret = ctr_cloud_wait_initialized(K_SECONDS(60));
		if (!ret) {
			break;
		} else {
			if (ret == -ETIMEDOUT) {
				LOG_INF("Waiting for cloud initialization");
			} else {
				LOG_ERR("Call `ctr_cloud_wait_initialized` failed: %d", ret);
				return ret;
			}
		}

		ret = ctr_wdog_feed(&g_app_wdog_channel);
		if (ret) {
			LOG_ERR("Call `ctr_wdog_feed` failed: %d", ret);
			return ret;
		}
	}

#endif /* defined(FEATURE_SUBSYSTEM_LTE_V2) */

	ctr_led_set(CTR_LED_CHANNEL_R, false);

#if defined(FEATURE_SUBSYSTEM_POWER)
	ret = ctr_power_init(NULL, NULL);
	if (ret) {
		LOG_ERR("Call `ctr_power_init` failed: %d", ret);
		return ret;
	}
#endif /* defined(FEATURE_SUBSYSTEM_POWER) */

	ret = app_work_init();
	if (ret) {
		LOG_ERR("Call `app_work_init` failed: %d", ret);
		return ret;
	}

	return 0;
}
```

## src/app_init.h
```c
/*
 * Copyright (c) 2023 HARDWARIO a.s.
 *
 * SPDX-License-Identifier: LicenseRef-HARDWARIO-5-Clause
 */

#ifndef APP_INIT_H_
#define APP_INIT_H_

/* CHESTER includes */
#include <chester/ctr_wdog.h>

/* Zephyr includes */
#include <zephyr/kernel.h>

#ifdef __cplusplus
extern "C" {
#endif

extern struct ctr_wdog_channel g_app_wdog_channel;

int app_init(void);

#ifdef __cplusplus
}
#endif

#endif /* APP_INIT_H_ */
```

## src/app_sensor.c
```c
/*
 * Copyright (c) 2023 HARDWARIO a.s.
 *
 * SPDX-License-Identifier: LicenseRef-HARDWARIO-5-Clause
 */

#include "app_config.h"
#include "app_data.h"
#include "app_sensor.h"

/* CHESTER includes */
#include <chester/ctr_accel.h>
#include <chester/ctr_rtc.h>
#include <chester/ctr_therm.h>

/* Zephyr includes */
#include <zephyr/kernel.h>
#include <zephyr/logging/log.h>

/* Standard includes */
#include <limits.h>
#include <math.h>
#include <stdbool.h>
#include <stddef.h>
#include <stdint.h>
#include <stdlib.h>

LOG_MODULE_REGISTER(app_sensor, LOG_LEVEL_DBG);

static int compare(const void *a, const void *b)
{
	float fa = *(const float *)a;
	float fb = *(const float *)b;

	return (fa > fb) - (fa < fb);
}

static void aggreg(float *samples, size_t count, float *min, float *max, float *avg, float *mdn)
{
	*min = NAN;
	*max = NAN;
	*avg = NAN;
	*mdn = NAN;

	if (!count) {
		return;
	}

	for (size_t i = 0; i < count; i++) {
		if (isnan(samples[i])) {
			return;
		}
	}

	qsort(samples, count, sizeof(float), compare);

	*min = samples[0];
	*max = samples[count - 1];

	double avg_ = 0;
	for (size_t i = 0; i < count; i++) {
		avg_ += (double)samples[i];
	}
	avg_ /= count;

	*avg = avg_;
	*mdn = samples[count / 2];
}

int app_sensor_sample(void)
{
	int ret;
	float therm_temperature;

	ret = ctr_therm_read(&therm_temperature);
	if (ret) {
		LOG_ERR("Call `ctr_therm_read` failed: %d", ret);
		g_app_data.therm_temperature = NAN;
	}

	float accel_acceleration_x;
	float accel_acceleration_y;
	float accel_acceleration_z;
	int accel_orientation;

	ret = ctr_accel_read(&accel_acceleration_x, &accel_acceleration_y, &accel_acceleration_z,
			     &accel_orientation);
	if (ret) {
		LOG_ERR("Call `ctr_accel_read` failed: %d", ret);
		accel_acceleration_x = NAN;
		accel_acceleration_y = NAN;
		accel_acceleration_z = NAN;
		accel_orientation = INT_MAX;
	}

	app_data_lock();
	g_app_data.therm_temperature = therm_temperature;
	g_app_data.accel_acceleration_x = accel_acceleration_x;
	g_app_data.accel_acceleration_y = accel_acceleration_y;
	g_app_data.accel_acceleration_z = accel_acceleration_z;
	g_app_data.accel_orientation = accel_orientation;
	app_data_unlock();

	return 0;
}
```
